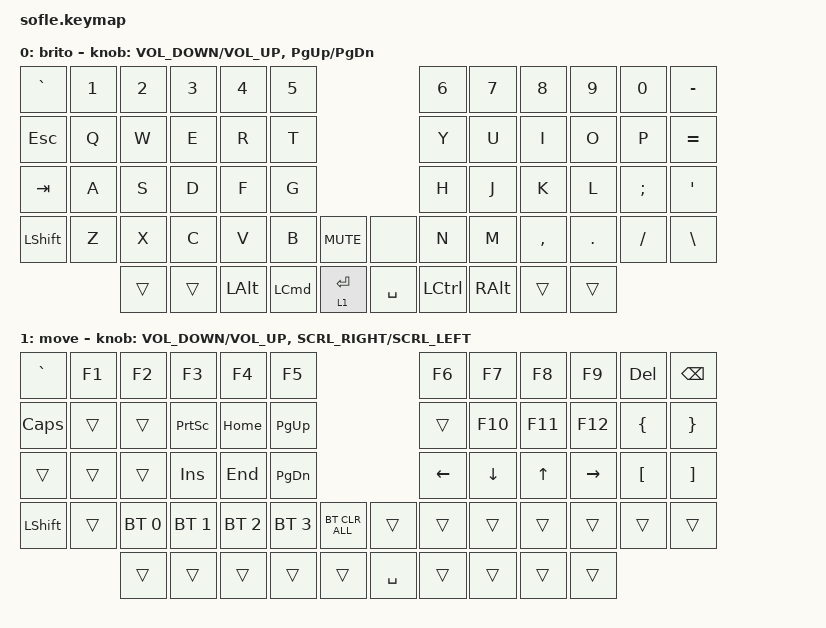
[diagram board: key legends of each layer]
/*
 * Copyright (c) 2020 The ZMK Contributors
 *
 * SPDX-License-Identifier: MIT
 */

#include <behaviors.dtsi>
#include <dt-bindings/zmk/bt.h>
#include <dt-bindings/zmk/keys.h>
#include <dt-bindings/zmk/pointing.h>

#define BASE 0
#define LOWER 1
#define RAISE 2
#define ADJUST 3

/ {
    // Activate ADJUST layer by pressing raise and lower

    conditional_layers { compatible = "zmk,conditional-layers"; };

    behaviors {
        hold_behavior: hold_behavior {
            compatible = "zmk,behavior-hold-tap";
            label = "HOLD_BEHAVIOR";
            bindings = <&kp>, <&kp>;

            #binding-cells = <2>;
            tapping-term-ms = <1>;
        };

        scroll_mouse_behavior: scroll_mouse_behavior {
            compatible = "zmk,behavior-sensor-rotate-var";
            label = "SCROLL_MOUSE_BEHAVIOR";
            #sensor-binding-cells = <2>;
            bindings = <&msc>, <&msc>;
        };

        toggle_layer_tap_key: toggle_layer_tap_key {
            compatible = "zmk,behavior-hold-tap";
            label = "TOGGLE_LAYER_TAP_KEY";
            bindings = <&kp>, <&tog>;

            #binding-cells = <2>;
            tapping-term-ms = <200>;
        };
    };

    keymap {
        compatible = "zmk,keymap";

        Brito {
            display-name = "brito";

            // ------------------------------------------------------------------------------------------------------------
            // |   `   |  1  |  2  |  3   |  4   |  5   |                   |  6   |  7    |  8    |  9   |   0   |       |
            // |  ESC  |  Q  |  W  |  E   |  R   |  T   |                   |  Y   |  U    |  I    |  O   |   P   | BKSPC |
            // |  TAB  |  A  |  S  |  D   |  F   |  G   |                   |  H   |  J    |  K    |  L   |   ;   |   '   |
            // | SHIFT |  Z  |  X  |  C   |  V   |  B   |  MUTE  |  |       |  N   |  M    |  ,    |  .   |   /   | SHIFT |
            //               | GUI | ALT  | CTRL | LOWER|  ENTER |  | SPACE | RAISE| CTRL  | ALT   | GUI  |

            bindings = <
&kp GRAVE       &kp N1  &kp N2  &kp N3  &kp N4        &kp N5                                       &kp N6     &kp N7         &kp N8     &kp N9   &kp N0    &kp MINUS
&kp ESC         &kp Q   &kp W   &kp E   &kp R         &kp T                                        &kp Y      &kp U          &kp I      &kp O    &kp P     &kp EQUAL
&kp TAB         &kp A   &kp S   &kp D   &kp F         &kp G                                        &kp H      &kp J          &kp K      &kp L    &kp SEMI  &kp SQT
&kp LEFT_SHIFT  &kp Z   &kp X   &kp C   &kp V         &kp B             &kp C_MUTE      &none      &kp N      &kp M          &kp COMMA  &kp DOT  &kp FSLH  &kp BACKSLASH
                        &trans  &trans  &kp LEFT_ALT  &kp LEFT_COMMAND  &lt 1 RETURN    &kp SPACE  &kp LCTRL  &kp RIGHT_ALT  &trans     &trans
            >;

            sensor-bindings =
                <&inc_dec_kp C_VOLUME_DOWN C_VOLUME_UP>,
                <&inc_dec_kp PG_UP PG_DN>;
        };

        Move {
            display-name = "move";

            // TODO: Some binds are waiting for shifted keycode support.
            // ------------------------------------------------------------------------------------------------------------
            // |       |  F1 |  F2 |  F3  |  F4  |  F5  |                   |  F6  |  F7   |  F8   |  F9  |  F10  |  F11  |
            // |   `   |  1  |  2  |  3   |  4   |  5   |                   |  6   |  7    |  8    |  9   |   0   |  F12  |
            // |       |  !  |  @  |  #   |  $   |  %   |                   |  ^   |  &    |  *    |  (   |   )   |   |   |
            // |       |  =  |  -  |  +   |  {   |  }   |        |  |       |  [   |  ]    |  ;    |  :   |   \   |       |
            //               |     |      |      |      |        |  |       |      |       |       |      |

            bindings = <
&kp GRAVE       &kp F1  &kp F2        &kp F3           &kp F4        &kp F5                                      &kp F6          &kp F7          &kp F8        &kp F9     &kp DELETE        &kp BACKSPACE
&kp CAPSLOCK    &trans  &trans        &kp PRINTSCREEN  &kp HOME      &kp PG_UP                                   &trans          &kp F10         &kp F11       &kp F12    &kp LEFT_BRACE    &kp RIGHT_BRACE
&trans          &trans  &trans        &kp INSERT       &kp END       &kp PAGE_DOWN                               &kp LEFT_ARROW  &kp DOWN_ARROW  &kp UP_ARROW  &kp RIGHT  &kp LEFT_BRACKET  &kp RIGHT_BRACKET
&kp LEFT_SHIFT  &trans  &bt BT_SEL 0  &bt BT_SEL 1     &bt BT_SEL 2  &bt BT_SEL 3   &bt BT_CLR_ALL    &trans     &trans          &trans          &trans        &trans     &trans            &trans
                        &trans        &trans           &trans        &trans         &trans            &kp SPACE  &trans          &trans          &trans        &trans
            >;

            sensor-bindings =
                <&inc_dec_kp C_VOLUME_DOWN C_VOLUME_UP>,
                <&scroll_mouse_behavior SCRL_RIGHT SCRL_LEFT>;
        };
    };

    display {
        compatible = "zmk,display";

        left_display_screen: left_display_screen {
            compatible = "zmk,display-screen-status";
            label = "left_display_screen";
            widgets = <&wpm_widget &battery_widget &layer_widget &caps_word_widget>;
        };

        right_display_screen: right_display_screen {
            compatible = "zmk,display-screen-status";
            label = "right_display_screen";
            widgets = <&layer_image_widget>;
        };

        caps_word_widget: caps_word_widget {
            compatible = "zmk,widget-caps-word-status";
            label = "caps_word_widget";
            position = <0 48>;
        };

        wpm_widget: wpm_widget {
            compatible = "zmk,widget-wpm";
            label = "wpm_widget";
            position = <0 0>;
        };

        battery_widget: battery_widget {
            compatible = "zmk,widget-battery-status";
            label = "battery_widget";
            position = <0 16>;
        };

        layer_widget: layer_widget {
            compatible = "zmk,widget-layer-status";
            label = "layer_widget";
            position = <0 32>;
        };

        layer_image_widget: layer_image_widget {
            compatible = "zmk,widget-layer-state-image";
            label = "layer_image_widget";
            base-image = <&cat_base_image>;
            lower-image = <&cat_lower_image>;
            raise-image = <&cat_raise_image>;
            position = <0 0>;
        };

        cat_base_image: cat_base_image {
            compatible = "zmk,widget-image";
            label = "cat_base_image";
            image = <0x00 0x3C 0x7E 0x66 0x7E 0x3C 0x00 0x00>; // Happy Cat
            position = <0 0>;
        };

        cat_lower_image: cat_lower_image {
            compatible = "zmk,widget-image";
            label = "cat_lower_image";
            image = <0x00 0x24 0x5A 0x5A 0x5A 0x24 0x00 0x00>; // Thinking Cat
            position = <0 0>;
        };

        cat_raise_image: cat_raise_image {
            compatible = "zmk,widget-image";
            label = "cat_raise_image";
            image = <0x00 0x18 0x24 0x42 0x24 0x18 0x00 0x00>; // Surprised Cat
            position = <0 0>;
        };
    };
};
